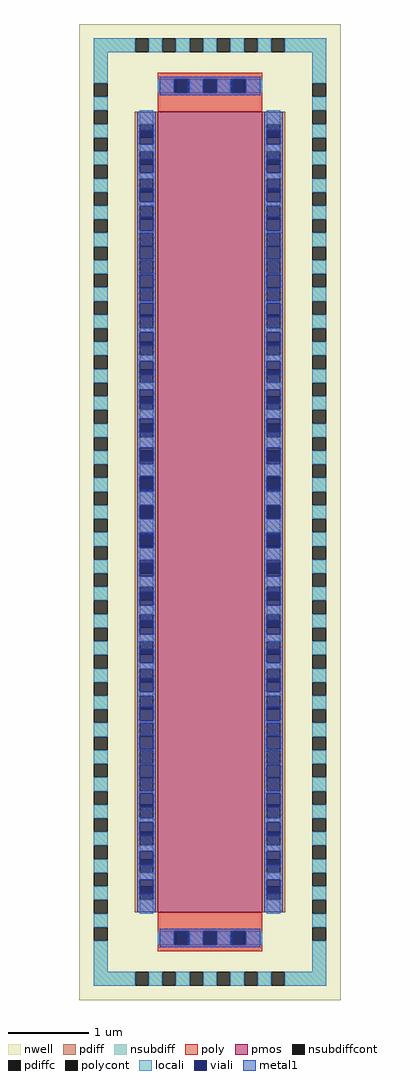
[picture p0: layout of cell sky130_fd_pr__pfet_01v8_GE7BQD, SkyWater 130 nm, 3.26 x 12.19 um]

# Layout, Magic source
magic
tech sky130A
magscale 1 2
<< nwell >>
rect -326 -1219 326 1219
<< pmos >>
rect -130 -1000 130 1000
<< pdiff >>
rect -188 969 -130 1000
rect -188 935 -176 969
rect -142 935 -130 969
rect -188 901 -130 935
rect -188 867 -176 901
rect -142 867 -130 901
rect -188 833 -130 867
rect -188 799 -176 833
rect -142 799 -130 833
rect -188 765 -130 799
rect -188 731 -176 765
rect -142 731 -130 765
rect -188 697 -130 731
rect -188 663 -176 697
rect -142 663 -130 697
rect -188 629 -130 663
rect -188 595 -176 629
rect -142 595 -130 629
rect -188 561 -130 595
rect -188 527 -176 561
rect -142 527 -130 561
rect -188 493 -130 527
rect -188 459 -176 493
rect -142 459 -130 493
rect -188 425 -130 459
rect -188 391 -176 425
rect -142 391 -130 425
rect -188 357 -130 391
rect -188 323 -176 357
rect -142 323 -130 357
rect -188 289 -130 323
rect -188 255 -176 289
rect -142 255 -130 289
rect -188 221 -130 255
rect -188 187 -176 221
rect -142 187 -130 221
rect -188 153 -130 187
rect -188 119 -176 153
rect -142 119 -130 153
rect -188 85 -130 119
rect -188 51 -176 85
rect -142 51 -130 85
rect -188 17 -130 51
rect -188 -17 -176 17
rect -142 -17 -130 17
rect -188 -51 -130 -17
rect -188 -85 -176 -51
rect -142 -85 -130 -51
rect -188 -119 -130 -85
rect -188 -153 -176 -119
rect -142 -153 -130 -119
rect -188 -187 -130 -153
rect -188 -221 -176 -187
rect -142 -221 -130 -187
rect -188 -255 -130 -221
rect -188 -289 -176 -255
rect -142 -289 -130 -255
rect -188 -323 -130 -289
rect -188 -357 -176 -323
rect -142 -357 -130 -323
rect -188 -391 -130 -357
rect -188 -425 -176 -391
rect -142 -425 -130 -391
rect -188 -459 -130 -425
rect -188 -493 -176 -459
rect -142 -493 -130 -459
rect -188 -527 -130 -493
rect -188 -561 -176 -527
rect -142 -561 -130 -527
rect -188 -595 -130 -561
rect -188 -629 -176 -595
rect -142 -629 -130 -595
rect -188 -663 -130 -629
rect -188 -697 -176 -663
rect -142 -697 -130 -663
rect -188 -731 -130 -697
rect -188 -765 -176 -731
rect -142 -765 -130 -731
rect -188 -799 -130 -765
rect -188 -833 -176 -799
rect -142 -833 -130 -799
rect -188 -867 -130 -833
rect -188 -901 -176 -867
rect -142 -901 -130 -867
rect -188 -935 -130 -901
rect -188 -969 -176 -935
rect -142 -969 -130 -935
rect -188 -1000 -130 -969
rect 130 969 188 1000
rect 130 935 142 969
rect 176 935 188 969
rect 130 901 188 935
rect 130 867 142 901
rect 176 867 188 901
rect 130 833 188 867
rect 130 799 142 833
rect 176 799 188 833
rect 130 765 188 799
rect 130 731 142 765
rect 176 731 188 765
rect 130 697 188 731
rect 130 663 142 697
rect 176 663 188 697
rect 130 629 188 663
rect 130 595 142 629
rect 176 595 188 629
rect 130 561 188 595
rect 130 527 142 561
rect 176 527 188 561
rect 130 493 188 527
rect 130 459 142 493
rect 176 459 188 493
rect 130 425 188 459
rect 130 391 142 425
rect 176 391 188 425
rect 130 357 188 391
rect 130 323 142 357
rect 176 323 188 357
rect 130 289 188 323
rect 130 255 142 289
rect 176 255 188 289
rect 130 221 188 255
rect 130 187 142 221
rect 176 187 188 221
rect 130 153 188 187
rect 130 119 142 153
rect 176 119 188 153
rect 130 85 188 119
rect 130 51 142 85
rect 176 51 188 85
rect 130 17 188 51
rect 130 -17 142 17
rect 176 -17 188 17
rect 130 -51 188 -17
rect 130 -85 142 -51
rect 176 -85 188 -51
rect 130 -119 188 -85
rect 130 -153 142 -119
rect 176 -153 188 -119
rect 130 -187 188 -153
rect 130 -221 142 -187
rect 176 -221 188 -187
rect 130 -255 188 -221
rect 130 -289 142 -255
rect 176 -289 188 -255
rect 130 -323 188 -289
rect 130 -357 142 -323
rect 176 -357 188 -323
rect 130 -391 188 -357
rect 130 -425 142 -391
rect 176 -425 188 -391
rect 130 -459 188 -425
rect 130 -493 142 -459
rect 176 -493 188 -459
rect 130 -527 188 -493
rect 130 -561 142 -527
rect 176 -561 188 -527
rect 130 -595 188 -561
rect 130 -629 142 -595
rect 176 -629 188 -595
rect 130 -663 188 -629
rect 130 -697 142 -663
rect 176 -697 188 -663
rect 130 -731 188 -697
rect 130 -765 142 -731
rect 176 -765 188 -731
rect 130 -799 188 -765
rect 130 -833 142 -799
rect 176 -833 188 -799
rect 130 -867 188 -833
rect 130 -901 142 -867
rect 176 -901 188 -867
rect 130 -935 188 -901
rect 130 -969 142 -935
rect 176 -969 188 -935
rect 130 -1000 188 -969
<< pdiffc >>
rect -176 935 -142 969
rect -176 867 -142 901
rect -176 799 -142 833
rect -176 731 -142 765
rect -176 663 -142 697
rect -176 595 -142 629
rect -176 527 -142 561
rect -176 459 -142 493
rect -176 391 -142 425
rect -176 323 -142 357
rect -176 255 -142 289
rect -176 187 -142 221
rect -176 119 -142 153
rect -176 51 -142 85
rect -176 -17 -142 17
rect -176 -85 -142 -51
rect -176 -153 -142 -119
rect -176 -221 -142 -187
rect -176 -289 -142 -255
rect -176 -357 -142 -323
rect -176 -425 -142 -391
rect -176 -493 -142 -459
rect -176 -561 -142 -527
rect -176 -629 -142 -595
rect -176 -697 -142 -663
rect -176 -765 -142 -731
rect -176 -833 -142 -799
rect -176 -901 -142 -867
rect -176 -969 -142 -935
rect 142 935 176 969
rect 142 867 176 901
rect 142 799 176 833
rect 142 731 176 765
rect 142 663 176 697
rect 142 595 176 629
rect 142 527 176 561
rect 142 459 176 493
rect 142 391 176 425
rect 142 323 176 357
rect 142 255 176 289
rect 142 187 176 221
rect 142 119 176 153
rect 142 51 176 85
rect 142 -17 176 17
rect 142 -85 176 -51
rect 142 -153 176 -119
rect 142 -221 176 -187
rect 142 -289 176 -255
rect 142 -357 176 -323
rect 142 -425 176 -391
rect 142 -493 176 -459
rect 142 -561 176 -527
rect 142 -629 176 -595
rect 142 -697 176 -663
rect 142 -765 176 -731
rect 142 -833 176 -799
rect 142 -901 176 -867
rect 142 -969 176 -935
<< nsubdiff >>
rect -290 1149 -187 1183
rect -153 1149 -119 1183
rect -85 1149 -51 1183
rect -17 1149 17 1183
rect 51 1149 85 1183
rect 119 1149 153 1183
rect 187 1149 290 1183
rect -290 1071 -256 1149
rect -290 1003 -256 1037
rect 256 1071 290 1149
rect 256 1003 290 1037
rect -290 935 -256 969
rect -290 867 -256 901
rect -290 799 -256 833
rect -290 731 -256 765
rect -290 663 -256 697
rect -290 595 -256 629
rect -290 527 -256 561
rect -290 459 -256 493
rect -290 391 -256 425
rect -290 323 -256 357
rect -290 255 -256 289
rect -290 187 -256 221
rect -290 119 -256 153
rect -290 51 -256 85
rect -290 -17 -256 17
rect -290 -85 -256 -51
rect -290 -153 -256 -119
rect -290 -221 -256 -187
rect -290 -289 -256 -255
rect -290 -357 -256 -323
rect -290 -425 -256 -391
rect -290 -493 -256 -459
rect -290 -561 -256 -527
rect -290 -629 -256 -595
rect -290 -697 -256 -663
rect -290 -765 -256 -731
rect -290 -833 -256 -799
rect -290 -901 -256 -867
rect -290 -969 -256 -935
rect 256 935 290 969
rect 256 867 290 901
rect 256 799 290 833
rect 256 731 290 765
rect 256 663 290 697
rect 256 595 290 629
rect 256 527 290 561
rect 256 459 290 493
rect 256 391 290 425
rect 256 323 290 357
rect 256 255 290 289
rect 256 187 290 221
rect 256 119 290 153
rect 256 51 290 85
rect 256 -17 290 17
rect 256 -85 290 -51
rect 256 -153 290 -119
rect 256 -221 290 -187
rect 256 -289 290 -255
rect 256 -357 290 -323
rect 256 -425 290 -391
rect 256 -493 290 -459
rect 256 -561 290 -527
rect 256 -629 290 -595
rect 256 -697 290 -663
rect 256 -765 290 -731
rect 256 -833 290 -799
rect 256 -901 290 -867
rect 256 -969 290 -935
rect -290 -1037 -256 -1003
rect -290 -1149 -256 -1071
rect 256 -1037 290 -1003
rect 256 -1149 290 -1071
rect -290 -1183 -187 -1149
rect -153 -1183 -119 -1149
rect -85 -1183 -51 -1149
rect -17 -1183 17 -1149
rect 51 -1183 85 -1149
rect 119 -1183 153 -1149
rect 187 -1183 290 -1149
<< nsubdiffcont >>
rect -187 1149 -153 1183
rect -119 1149 -85 1183
rect -51 1149 -17 1183
rect 17 1149 51 1183
rect 85 1149 119 1183
rect 153 1149 187 1183
rect -290 1037 -256 1071
rect -290 969 -256 1003
rect 256 1037 290 1071
rect -290 901 -256 935
rect -290 833 -256 867
rect -290 765 -256 799
rect -290 697 -256 731
rect -290 629 -256 663
rect -290 561 -256 595
rect -290 493 -256 527
rect -290 425 -256 459
rect -290 357 -256 391
rect -290 289 -256 323
rect -290 221 -256 255
rect -290 153 -256 187
rect -290 85 -256 119
rect -290 17 -256 51
rect -290 -51 -256 -17
rect -290 -119 -256 -85
rect -290 -187 -256 -153
rect -290 -255 -256 -221
rect -290 -323 -256 -289
rect -290 -391 -256 -357
rect -290 -459 -256 -425
rect -290 -527 -256 -493
rect -290 -595 -256 -561
rect -290 -663 -256 -629
rect -290 -731 -256 -697
rect -290 -799 -256 -765
rect -290 -867 -256 -833
rect -290 -935 -256 -901
rect -290 -1003 -256 -969
rect 256 969 290 1003
rect 256 901 290 935
rect 256 833 290 867
rect 256 765 290 799
rect 256 697 290 731
rect 256 629 290 663
rect 256 561 290 595
rect 256 493 290 527
rect 256 425 290 459
rect 256 357 290 391
rect 256 289 290 323
rect 256 221 290 255
rect 256 153 290 187
rect 256 85 290 119
rect 256 17 290 51
rect 256 -51 290 -17
rect 256 -119 290 -85
rect 256 -187 290 -153
rect 256 -255 290 -221
rect 256 -323 290 -289
rect 256 -391 290 -357
rect 256 -459 290 -425
rect 256 -527 290 -493
rect 256 -595 290 -561
rect 256 -663 290 -629
rect 256 -731 290 -697
rect 256 -799 290 -765
rect 256 -867 290 -833
rect 256 -935 290 -901
rect -290 -1071 -256 -1037
rect 256 -1003 290 -969
rect 256 -1071 290 -1037
rect -187 -1183 -153 -1149
rect -119 -1183 -85 -1149
rect -51 -1183 -17 -1149
rect 17 -1183 51 -1149
rect 85 -1183 119 -1149
rect 153 -1183 187 -1149
<< poly >>
rect -130 1081 130 1097
rect -130 1047 -85 1081
rect -51 1047 -17 1081
rect 17 1047 51 1081
rect 85 1047 130 1081
rect -130 1000 130 1047
rect -130 -1047 130 -1000
rect -130 -1081 -85 -1047
rect -51 -1081 -17 -1047
rect 17 -1081 51 -1047
rect 85 -1081 130 -1047
rect -130 -1097 130 -1081
<< polycont >>
rect -85 1047 -51 1081
rect -17 1047 17 1081
rect 51 1047 85 1081
rect -85 -1081 -51 -1047
rect -17 -1081 17 -1047
rect 51 -1081 85 -1047
<< locali >>
rect -290 1149 -187 1183
rect -153 1149 -119 1183
rect -85 1149 -51 1183
rect -17 1149 17 1183
rect 51 1149 85 1183
rect 119 1149 153 1183
rect 187 1149 290 1183
rect -290 1071 -256 1149
rect -130 1047 -89 1081
rect -51 1047 -17 1081
rect 17 1047 51 1081
rect 89 1047 130 1081
rect 256 1071 290 1149
rect -290 1003 -256 1037
rect -290 935 -256 969
rect -290 867 -256 901
rect -290 799 -256 833
rect -290 731 -256 765
rect -290 663 -256 697
rect -290 595 -256 629
rect -290 527 -256 561
rect -290 459 -256 493
rect -290 391 -256 425
rect -290 323 -256 357
rect -290 255 -256 289
rect -290 187 -256 221
rect -290 119 -256 153
rect -290 51 -256 85
rect -290 -17 -256 17
rect -290 -85 -256 -51
rect -290 -153 -256 -119
rect -290 -221 -256 -187
rect -290 -289 -256 -255
rect -290 -357 -256 -323
rect -290 -425 -256 -391
rect -290 -493 -256 -459
rect -290 -561 -256 -527
rect -290 -629 -256 -595
rect -290 -697 -256 -663
rect -290 -765 -256 -731
rect -290 -833 -256 -799
rect -290 -901 -256 -867
rect -290 -969 -256 -935
rect -290 -1037 -256 -1003
rect -176 969 -142 1004
rect -176 901 -142 919
rect -176 833 -142 847
rect -176 765 -142 775
rect -176 697 -142 703
rect -176 629 -142 631
rect -176 593 -142 595
rect -176 521 -142 527
rect -176 449 -142 459
rect -176 377 -142 391
rect -176 305 -142 323
rect -176 233 -142 255
rect -176 161 -142 187
rect -176 89 -142 119
rect -176 17 -142 51
rect -176 -51 -142 -17
rect -176 -119 -142 -89
rect -176 -187 -142 -161
rect -176 -255 -142 -233
rect -176 -323 -142 -305
rect -176 -391 -142 -377
rect -176 -459 -142 -449
rect -176 -527 -142 -521
rect -176 -595 -142 -593
rect -176 -631 -142 -629
rect -176 -703 -142 -697
rect -176 -775 -142 -765
rect -176 -847 -142 -833
rect -176 -919 -142 -901
rect -176 -1004 -142 -969
rect 142 969 176 1004
rect 142 901 176 919
rect 142 833 176 847
rect 142 765 176 775
rect 142 697 176 703
rect 142 629 176 631
rect 142 593 176 595
rect 142 521 176 527
rect 142 449 176 459
rect 142 377 176 391
rect 142 305 176 323
rect 142 233 176 255
rect 142 161 176 187
rect 142 89 176 119
rect 142 17 176 51
rect 142 -51 176 -17
rect 142 -119 176 -89
rect 142 -187 176 -161
rect 142 -255 176 -233
rect 142 -323 176 -305
rect 142 -391 176 -377
rect 142 -459 176 -449
rect 142 -527 176 -521
rect 142 -595 176 -593
rect 142 -631 176 -629
rect 142 -703 176 -697
rect 142 -775 176 -765
rect 142 -847 176 -833
rect 142 -919 176 -901
rect 142 -1004 176 -969
rect 256 1003 290 1037
rect 256 935 290 969
rect 256 867 290 901
rect 256 799 290 833
rect 256 731 290 765
rect 256 663 290 697
rect 256 595 290 629
rect 256 527 290 561
rect 256 459 290 493
rect 256 391 290 425
rect 256 323 290 357
rect 256 255 290 289
rect 256 187 290 221
rect 256 119 290 153
rect 256 51 290 85
rect 256 -17 290 17
rect 256 -85 290 -51
rect 256 -153 290 -119
rect 256 -221 290 -187
rect 256 -289 290 -255
rect 256 -357 290 -323
rect 256 -425 290 -391
rect 256 -493 290 -459
rect 256 -561 290 -527
rect 256 -629 290 -595
rect 256 -697 290 -663
rect 256 -765 290 -731
rect 256 -833 290 -799
rect 256 -901 290 -867
rect 256 -969 290 -935
rect 256 -1037 290 -1003
rect -290 -1149 -256 -1071
rect -130 -1081 -89 -1047
rect -51 -1081 -17 -1047
rect 17 -1081 51 -1047
rect 89 -1081 130 -1047
rect 256 -1149 290 -1071
rect -290 -1183 -187 -1149
rect -153 -1183 -119 -1149
rect -85 -1183 -51 -1149
rect -17 -1183 17 -1149
rect 51 -1183 85 -1149
rect 119 -1183 153 -1149
rect 187 -1183 290 -1149
<< viali >>
rect -89 1047 -85 1081
rect -85 1047 -55 1081
rect -17 1047 17 1081
rect 55 1047 85 1081
rect 85 1047 89 1081
rect -176 935 -142 953
rect -176 919 -142 935
rect -176 867 -142 881
rect -176 847 -142 867
rect -176 799 -142 809
rect -176 775 -142 799
rect -176 731 -142 737
rect -176 703 -142 731
rect -176 663 -142 665
rect -176 631 -142 663
rect -176 561 -142 593
rect -176 559 -142 561
rect -176 493 -142 521
rect -176 487 -142 493
rect -176 425 -142 449
rect -176 415 -142 425
rect -176 357 -142 377
rect -176 343 -142 357
rect -176 289 -142 305
rect -176 271 -142 289
rect -176 221 -142 233
rect -176 199 -142 221
rect -176 153 -142 161
rect -176 127 -142 153
rect -176 85 -142 89
rect -176 55 -142 85
rect -176 -17 -142 17
rect -176 -85 -142 -55
rect -176 -89 -142 -85
rect -176 -153 -142 -127
rect -176 -161 -142 -153
rect -176 -221 -142 -199
rect -176 -233 -142 -221
rect -176 -289 -142 -271
rect -176 -305 -142 -289
rect -176 -357 -142 -343
rect -176 -377 -142 -357
rect -176 -425 -142 -415
rect -176 -449 -142 -425
rect -176 -493 -142 -487
rect -176 -521 -142 -493
rect -176 -561 -142 -559
rect -176 -593 -142 -561
rect -176 -663 -142 -631
rect -176 -665 -142 -663
rect -176 -731 -142 -703
rect -176 -737 -142 -731
rect -176 -799 -142 -775
rect -176 -809 -142 -799
rect -176 -867 -142 -847
rect -176 -881 -142 -867
rect -176 -935 -142 -919
rect -176 -953 -142 -935
rect 142 935 176 953
rect 142 919 176 935
rect 142 867 176 881
rect 142 847 176 867
rect 142 799 176 809
rect 142 775 176 799
rect 142 731 176 737
rect 142 703 176 731
rect 142 663 176 665
rect 142 631 176 663
rect 142 561 176 593
rect 142 559 176 561
rect 142 493 176 521
rect 142 487 176 493
rect 142 425 176 449
rect 142 415 176 425
rect 142 357 176 377
rect 142 343 176 357
rect 142 289 176 305
rect 142 271 176 289
rect 142 221 176 233
rect 142 199 176 221
rect 142 153 176 161
rect 142 127 176 153
rect 142 85 176 89
rect 142 55 176 85
rect 142 -17 176 17
rect 142 -85 176 -55
rect 142 -89 176 -85
rect 142 -153 176 -127
rect 142 -161 176 -153
rect 142 -221 176 -199
rect 142 -233 176 -221
rect 142 -289 176 -271
rect 142 -305 176 -289
rect 142 -357 176 -343
rect 142 -377 176 -357
rect 142 -425 176 -415
rect 142 -449 176 -425
rect 142 -493 176 -487
rect 142 -521 176 -493
rect 142 -561 176 -559
rect 142 -593 176 -561
rect 142 -663 176 -631
rect 142 -665 176 -663
rect 142 -731 176 -703
rect 142 -737 176 -731
rect 142 -799 176 -775
rect 142 -809 176 -799
rect 142 -867 176 -847
rect 142 -881 176 -867
rect 142 -935 176 -919
rect 142 -953 176 -935
rect -89 -1081 -85 -1047
rect -85 -1081 -55 -1047
rect -17 -1081 17 -1047
rect 55 -1081 85 -1047
rect 85 -1081 89 -1047
<< metal1 >>
rect -126 1081 126 1087
rect -126 1047 -89 1081
rect -55 1047 -17 1081
rect 17 1047 55 1081
rect 89 1047 126 1081
rect -126 1041 126 1047
rect -182 953 -136 1000
rect -182 919 -176 953
rect -142 919 -136 953
rect -182 881 -136 919
rect -182 847 -176 881
rect -142 847 -136 881
rect -182 809 -136 847
rect -182 775 -176 809
rect -142 775 -136 809
rect -182 737 -136 775
rect -182 703 -176 737
rect -142 703 -136 737
rect -182 665 -136 703
rect -182 631 -176 665
rect -142 631 -136 665
rect -182 593 -136 631
rect -182 559 -176 593
rect -142 559 -136 593
rect -182 521 -136 559
rect -182 487 -176 521
rect -142 487 -136 521
rect -182 449 -136 487
rect -182 415 -176 449
rect -142 415 -136 449
rect -182 377 -136 415
rect -182 343 -176 377
rect -142 343 -136 377
rect -182 305 -136 343
rect -182 271 -176 305
rect -142 271 -136 305
rect -182 233 -136 271
rect -182 199 -176 233
rect -142 199 -136 233
rect -182 161 -136 199
rect -182 127 -176 161
rect -142 127 -136 161
rect -182 89 -136 127
rect -182 55 -176 89
rect -142 55 -136 89
rect -182 17 -136 55
rect -182 -17 -176 17
rect -142 -17 -136 17
rect -182 -55 -136 -17
rect -182 -89 -176 -55
rect -142 -89 -136 -55
rect -182 -127 -136 -89
rect -182 -161 -176 -127
rect -142 -161 -136 -127
rect -182 -199 -136 -161
rect -182 -233 -176 -199
rect -142 -233 -136 -199
rect -182 -271 -136 -233
rect -182 -305 -176 -271
rect -142 -305 -136 -271
rect -182 -343 -136 -305
rect -182 -377 -176 -343
rect -142 -377 -136 -343
rect -182 -415 -136 -377
rect -182 -449 -176 -415
rect -142 -449 -136 -415
rect -182 -487 -136 -449
rect -182 -521 -176 -487
rect -142 -521 -136 -487
rect -182 -559 -136 -521
rect -182 -593 -176 -559
rect -142 -593 -136 -559
rect -182 -631 -136 -593
rect -182 -665 -176 -631
rect -142 -665 -136 -631
rect -182 -703 -136 -665
rect -182 -737 -176 -703
rect -142 -737 -136 -703
rect -182 -775 -136 -737
rect -182 -809 -176 -775
rect -142 -809 -136 -775
rect -182 -847 -136 -809
rect -182 -881 -176 -847
rect -142 -881 -136 -847
rect -182 -919 -136 -881
rect -182 -953 -176 -919
rect -142 -953 -136 -919
rect -182 -1000 -136 -953
rect 136 953 182 1000
rect 136 919 142 953
rect 176 919 182 953
rect 136 881 182 919
rect 136 847 142 881
rect 176 847 182 881
rect 136 809 182 847
rect 136 775 142 809
rect 176 775 182 809
rect 136 737 182 775
rect 136 703 142 737
rect 176 703 182 737
rect 136 665 182 703
rect 136 631 142 665
rect 176 631 182 665
rect 136 593 182 631
rect 136 559 142 593
rect 176 559 182 593
rect 136 521 182 559
rect 136 487 142 521
rect 176 487 182 521
rect 136 449 182 487
rect 136 415 142 449
rect 176 415 182 449
rect 136 377 182 415
rect 136 343 142 377
rect 176 343 182 377
rect 136 305 182 343
rect 136 271 142 305
rect 176 271 182 305
rect 136 233 182 271
rect 136 199 142 233
rect 176 199 182 233
rect 136 161 182 199
rect 136 127 142 161
rect 176 127 182 161
rect 136 89 182 127
rect 136 55 142 89
rect 176 55 182 89
rect 136 17 182 55
rect 136 -17 142 17
rect 176 -17 182 17
rect 136 -55 182 -17
rect 136 -89 142 -55
rect 176 -89 182 -55
rect 136 -127 182 -89
rect 136 -161 142 -127
rect 176 -161 182 -127
rect 136 -199 182 -161
rect 136 -233 142 -199
rect 176 -233 182 -199
rect 136 -271 182 -233
rect 136 -305 142 -271
rect 176 -305 182 -271
rect 136 -343 182 -305
rect 136 -377 142 -343
rect 176 -377 182 -343
rect 136 -415 182 -377
rect 136 -449 142 -415
rect 176 -449 182 -415
rect 136 -487 182 -449
rect 136 -521 142 -487
rect 176 -521 182 -487
rect 136 -559 182 -521
rect 136 -593 142 -559
rect 176 -593 182 -559
rect 136 -631 182 -593
rect 136 -665 142 -631
rect 176 -665 182 -631
rect 136 -703 182 -665
rect 136 -737 142 -703
rect 176 -737 182 -703
rect 136 -775 182 -737
rect 136 -809 142 -775
rect 176 -809 182 -775
rect 136 -847 182 -809
rect 136 -881 142 -847
rect 176 -881 182 -847
rect 136 -919 182 -881
rect 136 -953 142 -919
rect 176 -953 182 -919
rect 136 -1000 182 -953
rect -126 -1047 126 -1041
rect -126 -1081 -89 -1047
rect -55 -1081 -17 -1047
rect 17 -1081 55 -1047
rect 89 -1081 126 -1047
rect -126 -1087 126 -1081
<< properties >>
string FIXED_BBOX -273 -1166 273 1166
<< end >>
